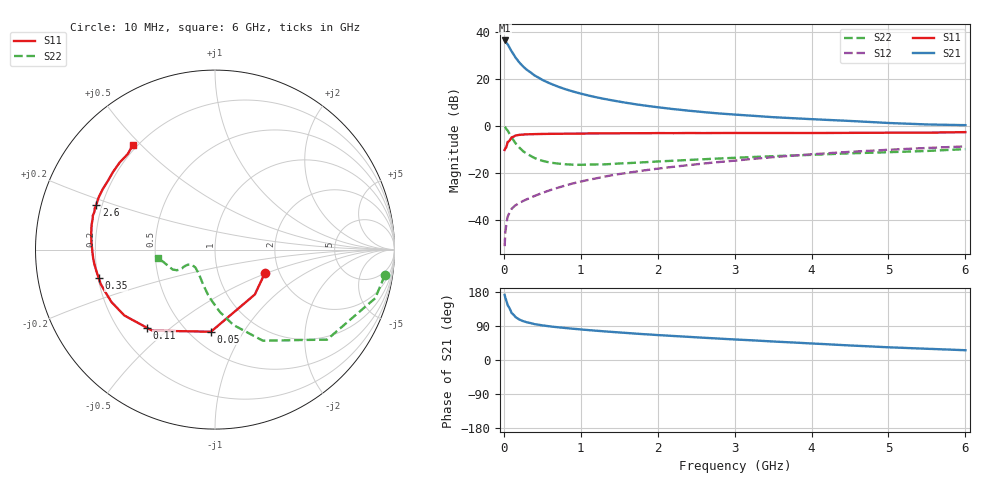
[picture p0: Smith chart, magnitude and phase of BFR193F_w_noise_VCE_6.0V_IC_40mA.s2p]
! Infineon Technologies  Discrete & RF Semiconductors
! BFR193F
! VCE =  6.0 V,  IC =  40 mA
! Common Emitter S-Parameters:  Jan 2017
# GHz  S  MA  R  50
!  f  S11  S21  S12  S22
! GHz  MAG  ANG  MAG  ANG  MAG  ANG  MAG  ANG
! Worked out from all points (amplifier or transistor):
!   77 points, 10 MHz to 6 GHz, reference 50 ohm
!   highest |S21| = 36.6 dB at 10 MHz (marker M1)
!   |S21| within 3 dB of that: start of sweep to 72.84 MHz
!   unconditionally stable (mu >= 1): 994.2 MHz to 2.627 GHz
!   at 130 MHz: K = 0.43, MSG = 32.5 dB, |S12| = -34.5 dB
!   at 2.2 GHz: K = 1.02, MAG = 11.6 dB, |S12| = -17.5 dB
!   at 6 GHz: K = 0.86, MSG = 4.5 dB, |S12| = -8.7 dB
!   lowest NFmin = 1.34 dB at 450 MHz
!   S11 on the Smith chart (normalised r, x): 10 MHz: 1.69, -0.48; 50 MHz: 0.63, -0.73; 110 MHz: 0.32, -0.42; 350 MHz: 0.20, -0.12; 2.6 GHz: 0.18, +0.18; 6 GHz: 0.18, +0.47
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0.01  0.3073 -24.8  67.45 172.0  0.0027 85.7  0.9569 -8.6
0.02  0.3343 -48.4  65.18 163.9  0.0054 82.5  0.9328 -16.9
0.05  0.458 -92.8  55.85 144.5  0.0115 62.5  0.8006 -38.8
0.1  0.571 -127.7  39.68 124.2  0.0169 54.3  0.5731 -62.3
0.11  0.5777 -131.2  37.54 122.5  0.0175 53.5  0.5428 -64.5
0.15  0.6244 -144.0  29.4 113.6  0.0201 50.8  0.4323 -76.3
0.2  0.6464 -153.1  22.99 106.9  0.0225 51.3  0.3486 -85.5
0.25  0.6561 -159.3  18.76 102.6  0.025 52.7  0.2894 -93.0
0.3  0.665 -163.3  15.85 99.4  0.0272 55.0  0.2541 -98.9
0.35  0.6671 -166.3  13.93 97.3  0.0296 57.7  0.2295 -103.2
0.4  0.6711 -169.3  12.03 94.6  0.032 60.0  0.2065 -108.5
0.5  0.677 -173.1  9.702 91.4  0.037 62.8  0.1805 -116.0
0.6  0.6804 -176.0  8.13 88.7  0.0425 64.7  0.1654 -122.4
0.8  0.6845 179.7  6.119 84.4  0.0535 68.3  0.1523 -132.2
1.1  0.6923 174.7  4.489 78.9  0.0706 70.7  0.15 -140.7
1.5  0.6993 169.8  3.323 72.7  0.094 72.2  0.1582 -147.5
2.1  0.7052 163.6  2.411 64.7  0.1283 72.7  0.1777 -151.1
2.6  0.7062 159.5  1.979 58.7  0.1578 72.0  0.1949 -151.0
3.1  0.7101 155.1  1.713 53.2  0.1886 71.1  0.2127 -150.4
4.1  0.7096 146.4  1.377 42.6  0.2546 67.2  0.2456 -152.3
5.1  0.7193 136.6  1.144 32.8  0.3161 61.7  0.279 -161.8
6  0.7405 128.2  1.043 25.8  0.3663 56.5  0.3206 -171.5
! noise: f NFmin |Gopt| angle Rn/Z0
0.45  1.34  0.43  179  0.06
0.9  1.42  0.44  180  0.07
1.9  1.98  0.59  -165  0.08
2.4  2.27  0.61  -157  0.13
